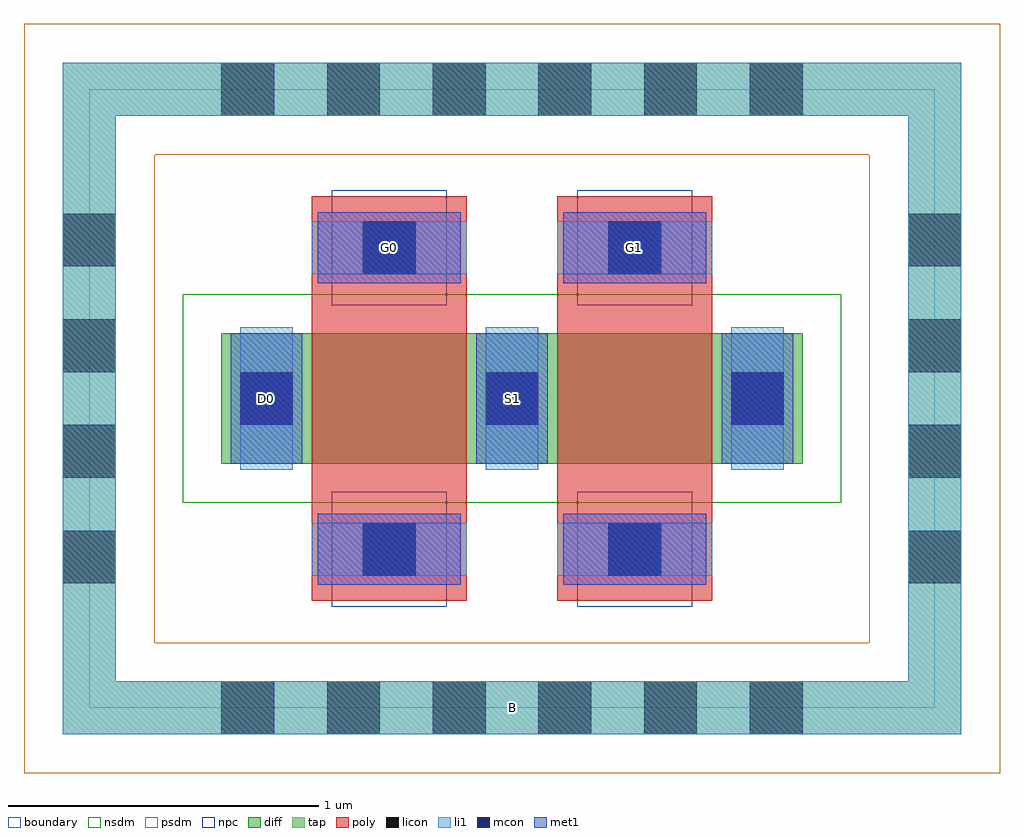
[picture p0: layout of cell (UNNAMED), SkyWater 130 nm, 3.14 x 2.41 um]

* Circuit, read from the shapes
.subckt (UNNAMED) B D0 G0 G1 S1
XM1 S1 G0 D0 B sky130_fd_pr__nfet_01v8 w=0.42 l=0.5
XM2 n1 G1 S1 B sky130_fd_pr__nfet_01v8 w=0.42 l=0.5
.ends

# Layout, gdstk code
import gdstk
lib = gdstk.Library(unit=1e-6, precision=1e-09)
def R(c, l, rs):  # rectangles x0, y0, x1, y1
    for r in rs: c.add(gdstk.rectangle(r[:2], r[2:], *l))
def A(c, l, x, y, w, h, nx, ny, dx, dy):  # array of equal rectangles
    R(c, l, [(x+i*dx, y+j*dy, x+i*dx+w, y+j*dy+h) for i in range(nx) for j in range(ny)])
diff = (65, 20)
tap = (65, 44)
poly = (66, 20)
licon = (66, 44)
li1 = (67, 20)
mcon = (67, 44)
met1 = (68, 20)
nsdm = (93, 44)
psdm = (94, 20)
npc = (95, 20)
boundary = (235, 4)

c__unnamed_ = lib.new_cell('(UNNAMED)')
R(c__unnamed_, diff, [(-0.935,-0.21,0.935,0.21)])
R(c__unnamed_, tap, [(-1.445,-1.08,1.445,-0.91), (-1.445,-0.91,-1.275,0.91), (1.275,-0.91,1.445,0.91), (-1.445,0.91,1.445,1.08)])
R(c__unnamed_, poly, [(-0.645,-0.65,-0.145,0.65), (0.145,-0.65,0.645,0.65)])
A(c__unnamed_, licon, -0.935, -1.08, 0.17, 0.17, 6, 2, 0.34, 1.99)
A(c__unnamed_, licon, -1.445, -0.595, 0.17, 0.17, 1, 4, 0, 0.34)
A(c__unnamed_, licon, 1.275, -0.595, 0.17, 0.17, 1, 4, 0, 0.34)
A(c__unnamed_, licon, -0.875, -0.085, 0.17, 0.17, 3, 1, 0.79, 0)
R(c__unnamed_, licon, [(-0.48,-0.57,-0.31,-0.4), (0.31,-0.57,0.48,-0.4), (-0.48,0.4,-0.31,0.57), (0.31,0.4,0.48,0.57)])
A(c__unnamed_, li1, -0.875, -0.23, 0.17, 0.46, 3, 1, 0.79, 0)
R(c__unnamed_, li1, [(-1.445,-1.08,1.445,-0.91), (-1.445,-0.91,-1.275,0.91), (1.275,-0.91,1.445,0.91), (-0.645,-0.57,-0.145,-0.4), (0.145,-0.57,0.645,-0.4), (-0.645,0.4,-0.145,0.57), (0.145,0.4,0.645,0.57), (-1.445,0.91,1.445,1.08)])
A(c__unnamed_, mcon, -0.875, -0.085, 0.17, 0.17, 3, 1, 0.79, 0)
R(c__unnamed_, mcon, [(-0.48,-0.57,-0.31,-0.4), (0.31,-0.57,0.48,-0.4), (-0.48,0.4,-0.31,0.57), (0.31,0.4,0.48,0.57)])
A(c__unnamed_, met1, -0.905, -0.21, 0.23, 0.42, 3, 1, 0.79, 0)
R(c__unnamed_, met1, [(-0.625,-0.6,-0.165,-0.37), (0.165,-0.6,0.625,-0.37), (-0.625,0.37,-0.165,0.6), (0.165,0.37,0.625,0.6)])
R(c__unnamed_, nsdm, [(-1.06,-0.335,1.06,0.335)])
R(c__unnamed_, psdm, [(-1.57,-1.205,1.57,-0.785), (-1.57,-0.785,-1.15,0.785), (1.15,-0.785,1.57,0.785), (-1.57,0.785,1.57,1.205)])
R(c__unnamed_, npc, [(-0.58,-0.67,-0.21,-0.3), (0.21,-0.67,0.58,-0.3), (-0.58,0.3,-0.21,0.67), (0.21,0.3,0.58,0.67)])
R(c__unnamed_, boundary, [(-1.36,-0.995,1.36,0.995)])
c__unnamed_.add(gdstk.Label('B', (0,-0.995), layer=67, texttype=5))
c__unnamed_.add(gdstk.Label('D0', (-0.79,0), layer=67, texttype=5))
c__unnamed_.add(gdstk.Label('G0', (-0.395,0.485), layer=67, texttype=5))
c__unnamed_.add(gdstk.Label('S1', (0,0), layer=67, texttype=5))
c__unnamed_.add(gdstk.Label('G1', (0.395,0.485), layer=67, texttype=5))

lib.write_gds('_UNNAMED_.gds')
